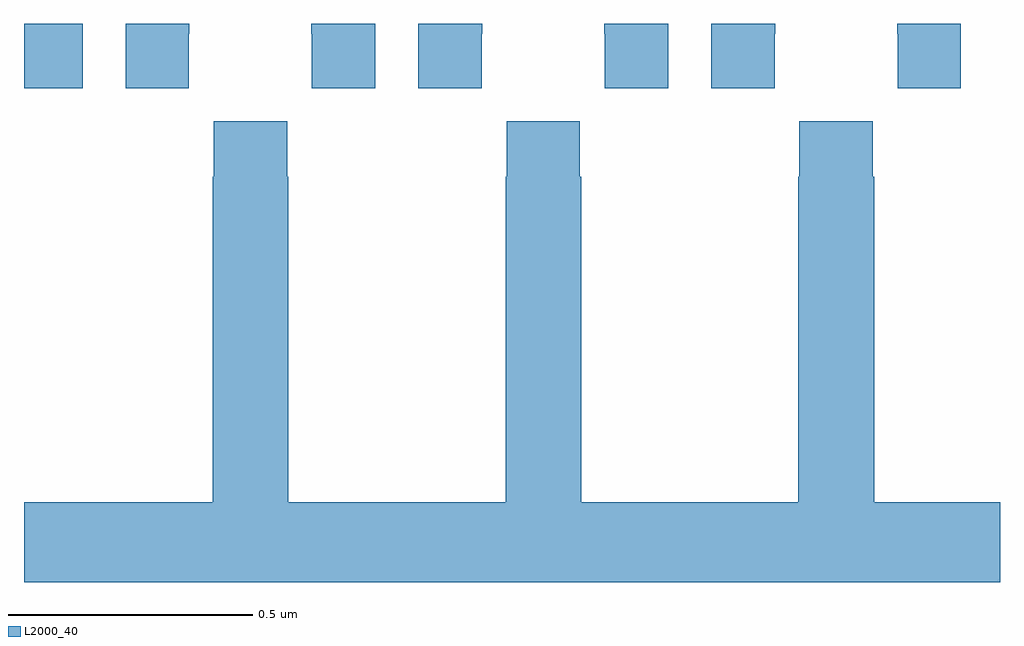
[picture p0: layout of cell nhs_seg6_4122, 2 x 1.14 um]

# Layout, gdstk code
import gdstk
lib = gdstk.Library(unit=1e-6, precision=1e-09)
def R(c, l, rs):  # rectangles x0, y0, x1, y1
    for r in rs: c.add(gdstk.rectangle(r[:2], r[2:], *l))
def P(c, l, *ps):  # polygons
    for p in ps: c.add(gdstk.Polygon(p, *l))
L2000_40 = (2000, 40)

nhs_seg6_4122 = lib.new_cell('nhs_seg6_4122')
R(nhs_seg6_4122, L2000_40, [(166,928.368,166.12,928.5)])
P(nhs_seg6_4122, L2000_40, [(166.338,928.48),(166.339,928.48),(166.339,928.5),(166.208,928.5),(166.208,928.368),(166.338,928.368)],
  [(166.72,928.5),(166.589,928.5),(166.589,928.48),(166.59,928.48),(166.59,928.368),(166.72,928.368)],
  [(166.938,928.48),(166.939,928.48),(166.939,928.5),(166.808,928.5),(166.808,928.368),(166.938,928.368)],
  [(167.32,928.5),(167.189,928.5),(167.189,928.48),(167.19,928.48),(167.19,928.368),(167.32,928.368)],
  [(167.538,928.48),(167.539,928.48),(167.539,928.5),(167.408,928.5),(167.408,928.368),(167.538,928.368)],
  [(167.92,928.5),(167.789,928.5),(167.789,928.48),(167.79,928.48),(167.79,928.368),(167.92,928.368)],
  [(168,927.52),(167.742,927.52),(167.742,928.187),(167.739,928.187),(167.739,928.3),(167.589,928.3),(167.589,928.187),(167.587,928.187),(167.587,927.52),(167.142,927.52),(167.142,928.187),(167.139,928.187),(167.139,928.3),(166.989,928.3),(166.989,928.187),(166.987,928.187),(166.987,927.52),(166.542,927.52),(166.542,928.187),(166.539,928.187),(166.539,928.3),(166.389,928.3),(166.389,928.187),(166.387,928.187),(166.387,927.52),(166,927.52),(166,927.356),(168,927.356)])

lib.write_gds('nhs_seg6_4122.gds')
